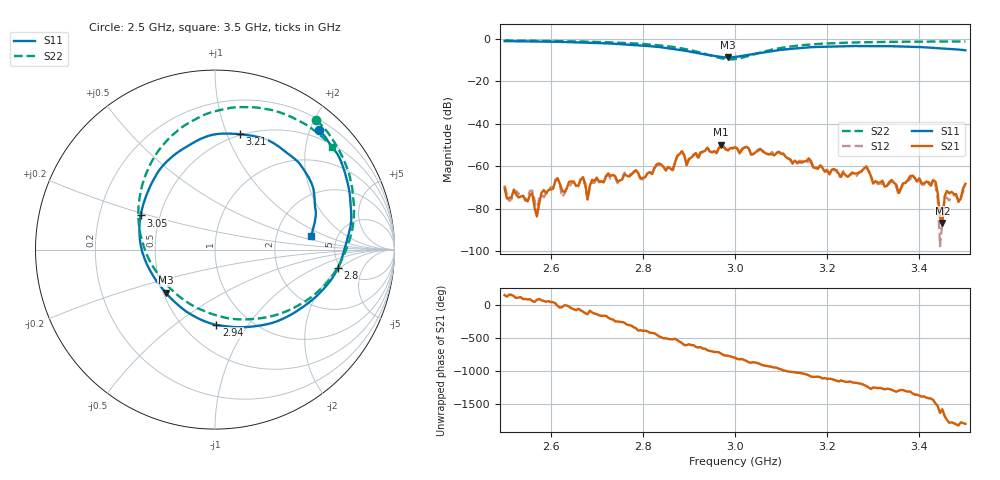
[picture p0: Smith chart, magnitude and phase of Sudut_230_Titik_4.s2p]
# Hz S RI R 50
! CMT, C1220, 16058040, 17.2.0/1
! Date: 15/08/2018 10:34:47
! Data: Format (Calibration Info)
! Freq  S11: Re/Im (F2)  S21: Re/Im (F2)  S12: Re/Im (F2)  S22: Re/Im (F2)
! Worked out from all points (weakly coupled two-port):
!   201 points, 2.5 GHz to 3.5 GHz, reference 50 ohm
!   highest |S21| = -49.89 dB at 2.97 GHz (marker M1); lowest = -86.8 dB at 3.45 GHz (marker M2)
!   lowest |S11| = -8.8 dB at 2.985 GHz (marker M3), VSWR 2.15, Z = 25.8 - j14.3 ohm
!   |S11| at or under -10 dB: nowhere
!   |S22| runs from -9.7 to -0.8 dB; largest |S21 - S12| = 0.00022
!   S11 on the Smith chart (normalised r, x): 2.5 GHz: 0.36, +2.15; 2.8 GHz: 4.75, -1.85; 2.94 GHz: 0.71, -0.72; 3.05 GHz: 0.39, +0.19; 3.21 GHz: 0.49, +1.12; 3.5 GHz: 3.18, +0.68
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2.5e9  0.5798 0.666  -0.000283 0.000125  -0.000325 0.000125  0.5649 0.7225
2.51e9  0.5949 0.6496  -0.000172 4.77e-05  -0.000125 8.33e-05  0.5761 0.7119
2.56e9  0.6512 0.5732  9.47e-05 0.00021  0.000135 0.00023  0.6317 0.6478
2.57e9  0.6653 0.5556  7.61e-06 6.49e-05  4.61e-05 5.99e-05  0.6422 0.6326
2.61e9  0.7045 0.4848  0.00037 0.000233  0.000384 0.000279  0.6827 0.5688
2.625e9  0.7185 0.4458  0.000238 -0.000111  0.00017 -7.68e-05  0.6968 0.5426
2.67e9  0.7468 0.3354  -6.83e-05 -0.000546  -7.73e-05 -0.000523  0.7364 0.4531
2.68e9  0.7511 0.3069  -0.000118 -0.000116  -5.98e-05 -0.000151  0.7447 0.4309
2.7e9  0.7557 0.2494  -0.000371 -0.000386  -0.000382 -0.000375  0.7562 0.3819
2.8e9  0.685 -0.1014  0.000461 -0.000252  0.000427 -0.000227  0.7553 0.0727
2.835e9  0.6011 -0.2235  -0.000426 -0.00107  -0.000337 -0.00103  0.7025 -0.0643
2.94e9  0.00798 -0.4192  0.00213 0.00167  0.00209 0.00175  0.1779 -0.3886
2.97e9  -0.1914 -0.3209  0.00309 -0.000831  0.00308 -0.000994  -0.0594 -0.3422
2.985e9  -0.2745 -0.2396  0.00154 -0.00176  0.00162 -0.00177  -0.1711 -0.2823
3e9  -0.3442 -0.1467  0.000605 -0.00271  0.000436 -0.00273  -0.2668 -0.1983
3.05e9  -0.4147 0.1905  -0.00216 -0.000777  -0.00234 -0.000774  -0.4269 0.1747
3.17e9  -0.0126 0.64  0.000911 -0.000173  0.000908 -7.79e-05  -0.08 0.7416
3.21e9  0.1405 0.6428  0.000604 -0.000561  0.000598 -0.000613  0.0666 0.7862
3.335e9  0.4678 0.4832  -0.00041 0.000104  -0.000363 0.000124  0.403 0.7489
3.43e9  0.5562 0.2541  0.000458 5.63e-06  0.000477 6.42e-06  0.5642 0.6551
3.45e9  0.5614 0.2041  -3.61e-05 -2.8e-05  -1.99e-05 -4.59e-05  0.5927 0.6313
3.5e9  0.5342 0.0761  0.00038 -3.12e-05  0.000343 -3.09e-06  0.6508 0.5743
